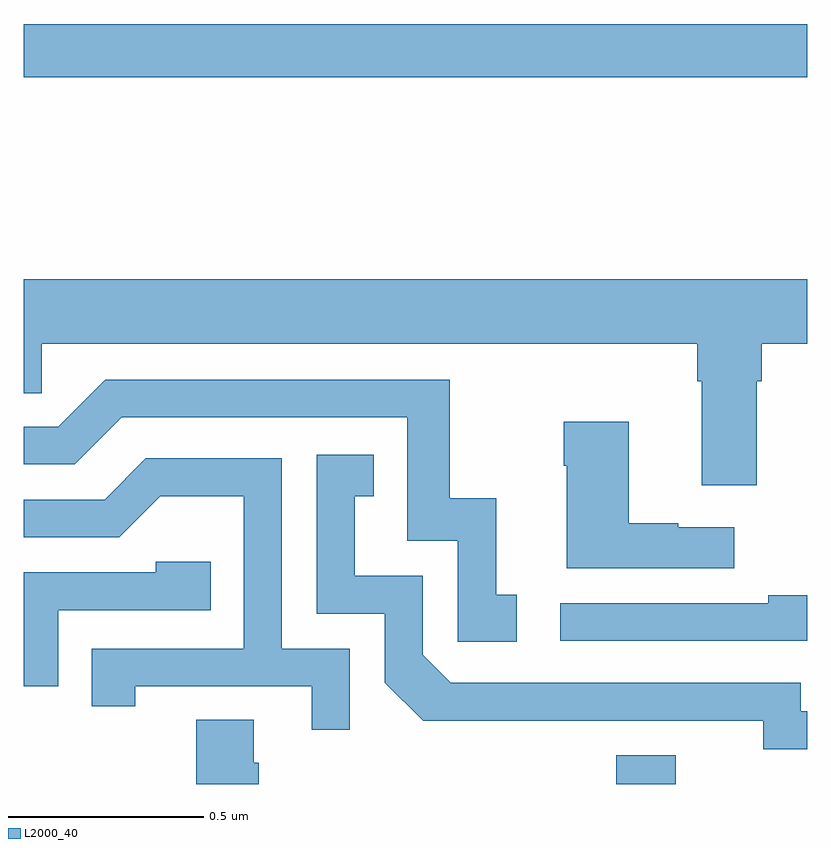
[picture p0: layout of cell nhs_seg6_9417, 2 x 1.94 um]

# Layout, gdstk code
import gdstk
lib = gdstk.Library(unit=1e-6, precision=1e-09)
def R(c, l, rs):  # rectangles x0, y0, x1, y1
    for r in rs: c.add(gdstk.rectangle(r[:2], r[2:], *l))
def P(c, l, *ps):  # polygons
    for p in ps: c.add(gdstk.Polygon(p, *l))
L2000_40 = (2000, 40)

nhs_seg6_9417 = lib.new_cell('nhs_seg6_9417')
R(nhs_seg6_9417, L2000_40, [(234.512,991.5,234.664,991.573), (233,993.304,235,993.44)])
P(nhs_seg6_9417, L2000_40, [(234.871,992.528),(234.884,992.528),(234.884,992.624),(235,992.624),(235,992.788),(233,992.788),(233,992.497),(233.046,992.497),(233.046,992.624),(234.719,992.624),(234.719,992.528),(234.731,992.528),(234.731,992.262),(234.871,992.262)],
  [(234.259,991.983),(234.206,991.983),(234.206,992.23),(234.088,992.23),(234.088,992.532),(233.208,992.532),(233.088,992.412),(233,992.412),(233,992.316),(233.13,992.316),(233.25,992.436),(233.979,992.436),(233.979,992.121),(234.108,992.121),(234.108,991.863),(234.259,991.863)],
  [(234.814,992.155),(234.671,992.155),(234.671,992.165),(234.544,992.165),(234.544,992.425),(234.379,992.425),(234.379,992.312),(234.386,992.312),(234.386,992.051),(234.814,992.051)],
  [(235,991.686),(234.984,991.686),(234.984,991.758),(234.09,991.758),(234.018,991.83),(234.018,992.031),(233.845,992.031),(233.845,992.235),(233.894,992.235),(233.894,992.341),(233.748,992.341),(233.748,991.935),(233.922,991.935),(233.922,991.758),(234.02,991.661),(234.428,991.661),(234.428,991.662),(234.888,991.662),(234.888,991.589),(235,991.589)],
  [(233.832,991.845),(233.658,991.845),(233.658,992.331),(233.312,992.331),(233.207,992.226),(233,992.226),(233,992.13),(233.244,992.13),(233.348,992.234),(233.562,992.234),(233.562,991.845),(233.173,991.845),(233.173,991.698),(233.284,991.698),(233.284,991.749),(233.735,991.749),(233.735,991.638),(233.832,991.638)],
  [(233.088,991.944),(233.477,991.944),(233.477,992.067),(233.337,992.067),(233.337,992.04),(233,992.04),(233,991.749),(233.088,991.749)],
  [(235,991.982),(234.901,991.982),(234.901,991.962),(234.369,991.962),(234.369,991.866),(235,991.866)],
  [(233.6,991.554),(233.587,991.554),(233.587,991.664),(233.44,991.664),(233.44,991.5),(233.6,991.5)])

lib.write_gds('nhs_seg6_9417.gds')
